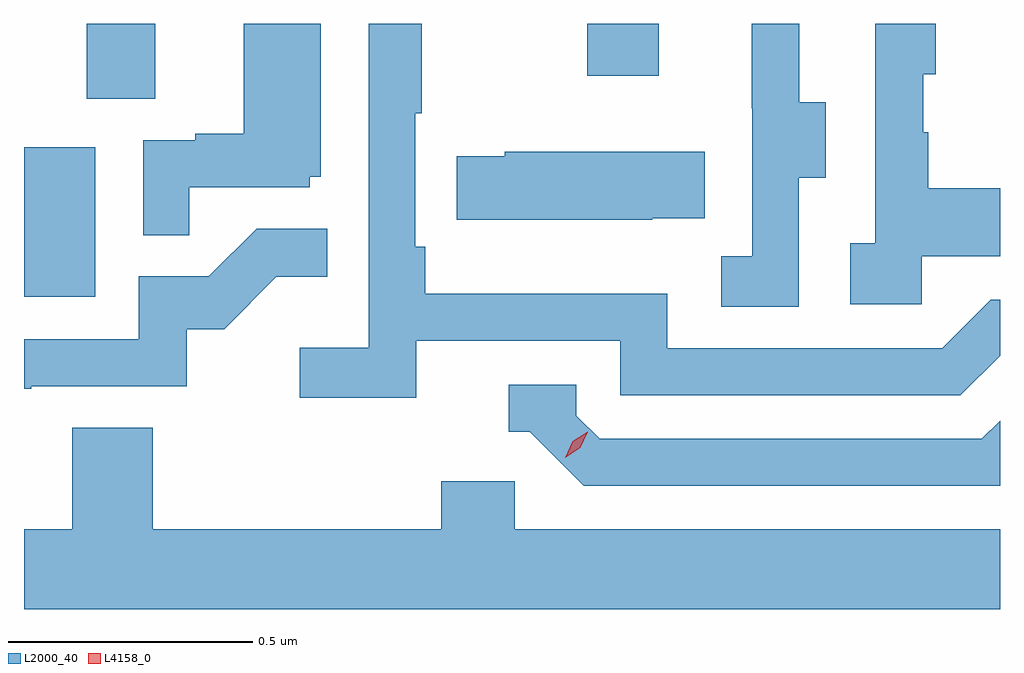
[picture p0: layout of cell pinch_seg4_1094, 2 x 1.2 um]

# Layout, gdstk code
import gdstk
lib = gdstk.Library(unit=1e-6, precision=1e-09)
def R(c, l, rs):  # rectangles x0, y0, x1, y1
    for r in rs: c.add(gdstk.rectangle(r[:2], r[2:], *l))
def P(c, l, *ps):  # polygons
    for p in ps: c.add(gdstk.Polygon(p, *l))
L2000_40 = (2000, 40)
L4158_0 = (4158, 0)

pinch_seg4_1094 = lib.new_cell('pinch_seg4_1094')
R(pinch_seg4_1094, L2000_40, [(875.294,757.5,875.44,757.807), (875.423,757.906,875.563,758.06), (876.448,757.953,876.595,758.06)])
P(pinch_seg4_1094, L2000_40, [(876.882,757.744),(876.937,757.744),(876.937,757.899),(876.883,757.899),(876.883,758.06),(876.785,758.06),(876.785,757.887),(876.786,757.887),(876.786,757.583),(876.723,757.583),(876.723,757.48),(876.882,757.48)],
  [(877.134,757.583),(877.294,757.583),(877.294,757.723),(877.147,757.723),(877.147,757.838),(877.137,757.838),(877.137,757.956),(877.162,757.956),(877.162,758.06),(877.038,758.06),(877.038,757.61),(876.987,757.61),(876.987,757.485),(877.134,757.485)],
  [(875.633,757.725),(875.88,757.725),(875.88,757.746),(875.902,757.746),(875.902,758.06),(875.744,758.06),(875.744,757.834),(875.645,757.834),(875.645,757.821),(875.538,757.821),(875.538,757.627),(875.633,757.627)],
  [(876.098,757.41),(876.516,757.41),(876.516,757.299),(877.213,757.299),(877.294,757.38),(877.294,757.494),(877.275,757.494),(877.176,757.395),(876.612,757.395),(876.612,757.507),(876.116,757.507),(876.116,757.603),(876.096,757.603),(876.096,757.876),(876.109,757.876),(876.109,758.06),(876,758.06),(876,757.396),(875.859,757.396),(875.859,757.294),(876.098,757.294)],
  [(876.581,757.661),(876.689,757.661),(876.689,757.798),(876.279,757.798),(876.279,757.788),(876.181,757.788),(876.181,757.658),(876.581,757.658)],
  [(875.309,757.317),(875.628,757.317),(875.628,757.434),(875.704,757.434),(875.811,757.541),(875.915,757.541),(875.915,757.64),(875.771,757.64),(875.673,757.542),(875.529,757.542),(875.529,757.413),(875.294,757.413),(875.294,757.312),(875.309,757.312)],
  [(877.294,757.246),(877.257,757.209),(876.474,757.209),(876.426,757.257),(876.426,757.32),(876.287,757.32),(876.287,757.224),(876.33,757.224),(876.441,757.113),(877.294,757.113)],
  [(877.294,757.024),(876.3,757.024),(876.3,757.122),(876.149,757.122),(876.149,757.024),(875.558,757.024),(875.558,757.232),(875.393,757.232),(875.393,757.024),(875.294,757.024),(875.294,756.86),(877.294,756.86)])
P(pinch_seg4_1094, L4158_0, [(876.403,757.171),(876.403,757.171),(876.418,757.204),(876.449,757.224),(876.449,757.224),(876.449,757.224),(876.434,757.191),(876.403,757.171)])

lib.write_gds('pinch_seg4_1094.gds')
